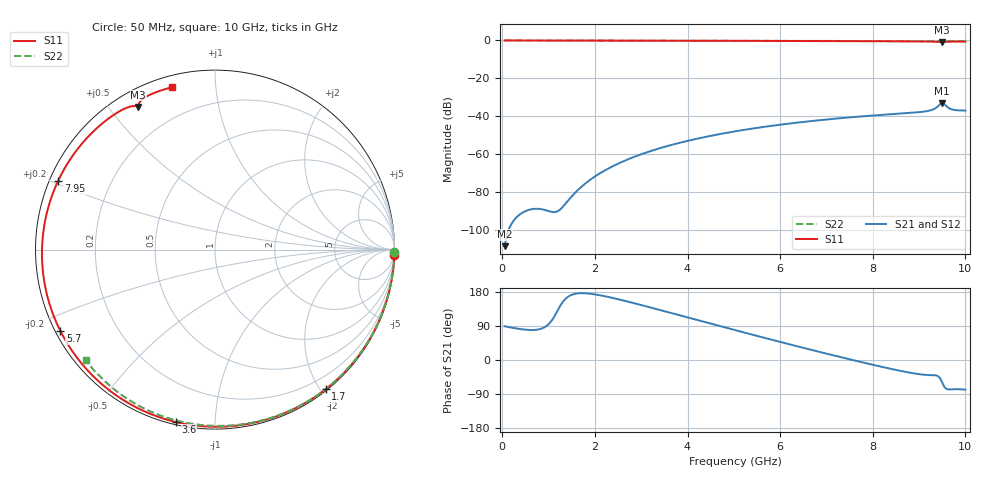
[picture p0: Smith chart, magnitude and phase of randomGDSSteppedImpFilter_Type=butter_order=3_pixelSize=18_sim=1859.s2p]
! freq	dB(S11)	phase(S11)	dB(S12)	phase(S12)
!  dB(S21)	phase(S21)	dB(S22)	phase(S22)
!S-par simulation data
#  GHz  S  DB  R 50
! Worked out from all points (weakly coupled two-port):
!   200 points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, 50 MHz to 10 GHz, reference 50 ohm
!   highest |S21| = -33.02 dB at 9.5 GHz (marker M1); lowest = -108.6 dB at 50 MHz (marker M2)
!   lowest |S11| = -0.9 dB at 9.5 GHz (marker M3), VSWR 19.67, Z = 3.44 + j29.7 ohm
!   |S11| at or under -10 dB: nowhere
!   |S22| runs from -0.5 to 0.0 dB; largest |S21 - S12| = 0
!   S11 on the Smith chart (normalised r, x): 50 MHz: 0, -73; 1.7 GHz: 0.02, -2.07; 3.6 GHz: 0.01, -0.80; 5.7 GHz: 0.01, -0.25; 7.95 GHz: 0.02, +0.21; 10 GHz: 0.05, +0.77
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0.05  -0.00 -1.6  -108.62 89.0  -108.62 89.0  -0.00 -0.8
0.75  -0.03 -23.2  -88.87 80.0  -88.87 80.0  -0.02 -12.1
1.55  -0.06 -47.2  -81.00 174.0  -81.00 174.0  -0.03 -24.8
1.6  -0.06 -48.6  -79.75 175.3  -79.75 175.3  -0.03 -25.5
1.7  -0.06 -51.5  -77.45 176.3  -77.45 176.3  -0.03 -27.1
1.75  -0.07 -53.0  -76.39 176.3  -76.39 176.3  -0.04 -27.9
2.05  -0.08 -61.5  -71.03 172.1  -71.03 172.1  -0.04 -32.6
2.45  -0.09 -72.7  -65.64 161.9  -65.64 161.9  -0.05 -38.7
3.4  -0.12 -97.7  -56.91 132.1  -56.91 132.1  -0.07 -53.0
3.6  -0.13 -102.8  -55.52 125.5  -55.52 125.5  -0.08 -56.0
4.3  -0.16 -119.9  -51.37 102.5  -51.37 102.5  -0.09 -66.1
5.05  -0.20 -137.4  -47.90 78.0  -47.90 78.0  -0.12 -76.6
5.7  -0.23 -152.2  -45.47 57.2  -45.47 57.2  -0.14 -85.4
6.7  -0.30 -174.8  -42.49 25.9  -42.49 25.9  -0.19 -98.6
7.35  -0.35 170.4  -40.94 6.3  -40.94 6.3  -0.23 -106.9
7.95  -0.41 156.3  -39.73 -11.2  -39.73 -11.2  -0.27 -114.4
8.35  -0.45 146.7  -39.03 -22.2  -39.03 -22.2  -0.31 -119.3
9.2  -0.57 125.0  -37.18 -39.8  -37.18 -39.8  -0.39 -129.7
9.35  -0.65 120.9  -35.85 -40.4  -35.85 -40.4  -0.41 -131.4
9.5  -0.88 118.3  -33.02 -59.6  -33.02 -59.6  -0.41 -133.2
9.7  -0.58 113.4  -36.35 -77.5  -36.35 -77.5  -0.43 -135.7
10  -0.58 104.8  -36.99 -78.3  -36.99 -78.3  -0.47 -139.4
